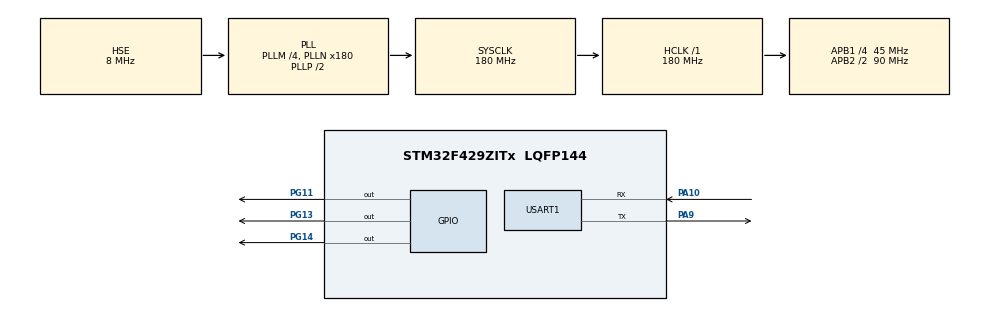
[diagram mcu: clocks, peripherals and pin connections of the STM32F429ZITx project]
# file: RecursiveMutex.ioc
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FREERTOS.Tasks01=defaultTask,0,128,StartDefaultTask,Default,NULL,Dynamic,NULL,NULL
FREERTOS.configUSE_RECURSIVE_MUTEXES=1
Mcu.Family=STM32F4
Mcu.Name=STM32F429ZITx
Mcu.Package=LQFP144
NVIC.PriorityGroup=NVIC_PRIORITYGROUP_4
NVIC.TIM6_DAC_IRQn=true\:15\:0\:false\:false\:true\:false\:false\:true\:true
NVIC.TimeBase=TIM6_DAC_IRQn
NVIC.TimeBaseIP=TIM6
PA10.Mode=Asynchronous
PA10.Signal=USART1_RX
PA9.Mode=Asynchronous
PA9.Signal=USART1_TX
PG11.Signal=GPIO_Output
PG13.Signal=GPIO_Output
PG14.Signal=GPIO_Output
PH0/OSC_IN.Mode=HSE-External-Oscillator
PH0/OSC_IN.Signal=RCC_OSC_IN
PH1/OSC_OUT.Mode=HSE-External-Oscillator
PH1/OSC_OUT.Signal=RCC_OSC_OUT
ProjectManager.HeapSize=0x200
ProjectManager.StackSize=0x400
ProjectManager.TargetToolchain=STM32CubeIDE
RCC.48MHZClocksFreq_Value=51428571.428571425
RCC.AHBFreq_Value=180000000
RCC.APB1CLKDivider=RCC_HCLK_DIV4
RCC.APB1Freq_Value=45000000
RCC.APB1TimFreq_Value=90000000
RCC.APB2CLKDivider=RCC_HCLK_DIV2
RCC.APB2Freq_Value=90000000
RCC.APB2TimFreq_Value=180000000
RCC.CortexFreq_Value=180000000
RCC.HCLKFreq_Value=180000000
RCC.HSE_VALUE=8000000
RCC.HSI_VALUE=16000000
RCC.LSE_VALUE=32768
RCC.PLLM=4
RCC.PLLN=180
RCC.PLLQ=7
RCC.PLLSourceVirtual=RCC_PLLSOURCE_HSE
RCC.SYSCLKFreq_VALUE=180000000
RCC.SYSCLKSource=RCC_SYSCLKSOURCE_PLLCLK
RCC.VCOOutputFreq_Value=360000000
USART1.VirtualMode=VM_ASYNC
VP_FREERTOS_VS_CMSIS_V1.Mode=CMSIS_V1
VP_SYS_VS_tim6.Mode=TIM6
board=STM32F429I-DISC1

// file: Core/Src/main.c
/* USER CODE BEGIN Header */
/**
  ******************************************************************************
  * @file           : main.c
  * @brief          : Main program body
  ******************************************************************************
  * @attention
  *
  * Copyright (c) 2025 STMicroelectronics.
  * All rights reserved.
  *
  * This software is licensed under terms that can be found in the LICENSE file
  * in the root directory of this software component.
  * If no LICENSE file comes with this software, it is provided AS-IS.
  *
  ******************************************************************************
  */
/* USER CODE END Header */
#include "main.h"
#include "FreeRTOS.h"
#include "task.h"
#include "timers.h"
#include "queue.h"
#include "semphr.h"
#include "event_groups.h"

UART_HandleTypeDef huart1;

void SystemClock_Config(void);
static void MX_GPIO_Init(void);
static void MX_USART1_UART_Init(void);

/* USER CODE BEGIN 0 */

/* ************************* Mutex Handle ************************* */
QueueHandle_t RecursiveMutexHandle;

/* ************************* Task Handles ************************* */
TaskHandle_t Task01_Handle, Task02_Handle;

/* ************************ Some functions ************************ */
void Function_B()
{
	// Try to lock the mutex again inside Function_B
	if(xSemaphoreTakeRecursive(RecursiveMutexHandle, portMAX_DELAY) == pdPASS) // This will succeed since it's a recursive mutex, incrementing the lock count
	{
		HAL_GPIO_TogglePin(GPIOG, GPIO_PIN_13); // indicate Function_B
		HAL_UART_Transmit(&huart1, (uint8_t*)"Task01: Enter Function_B\n", 26, HAL_MAX_DELAY);

		vTaskDelay(pdMS_TO_TICKS(500));

		HAL_UART_Transmit(&huart1, (uint8_t*)"Task01: Exit Function_B Releasing Mutex\n", 42, HAL_MAX_DELAY);
		HAL_GPIO_TogglePin(GPIOG, GPIO_PIN_13);

		// Release mutex (decrement lock count)
		xSemaphoreGiveRecursive(RecursiveMutexHandle);
	}
}

void Function_A()
{
	// First lock in Function_A
	if(xSemaphoreTakeRecursive(RecursiveMutexHandle, portMAX_DELAY) == pdPASS) //
	{
		HAL_GPIO_TogglePin(GPIOG, GPIO_PIN_14); // indicate Function_A
		HAL_UART_Transmit(&huart1, (uint8_t*)"Task01: Enter Function_A\n", 26, HAL_MAX_DELAY);

		vTaskDelay(pdMS_TO_TICKS(500));

		// Call nested function that also uses the same mutex
		Function_B();

		HAL_UART_Transmit(&huart1, (uint8_t*)"Task01: Exit Function_A Releasing Mutex\n", 42, HAL_MAX_DELAY);
		HAL_GPIO_TogglePin(GPIOG, GPIO_PIN_14);

		// Release mutex once for Function_A
		xSemaphoreGiveRecursive(RecursiveMutexHandle);
	}
}

/* ************************* Task Functions *********************** */
void Task01(void *pvParameters)
{
	for(;;)
	{
		Function_A(); // Top-level call
		vTaskDelay(pdMS_TO_TICKS(2000)); // Run every 2s
	}
}

void Task02(void *pvParameters)
{
	for(;;)
	{
		// Task02 also wants to use the same resource
		if (xSemaphoreTakeRecursive(RecursiveMutexHandle, portMAX_DELAY) == pdPASS) {
			HAL_GPIO_TogglePin(GPIOG, GPIO_PIN_11); // indicate Task02
			HAL_UART_Transmit(&huart1, (uint8_t*) "Task02: Acquired Mutex\n", 23, HAL_MAX_DELAY);

			vTaskDelay(pdMS_TO_TICKS(1000));

			HAL_UART_Transmit(&huart1, (uint8_t*) "Task02: Releasing Mutex\n", 25, HAL_MAX_DELAY);
			HAL_GPIO_TogglePin(GPIOG, GPIO_PIN_11);

			xSemaphoreGiveRecursive(RecursiveMutexHandle);
		}

		vTaskDelay(pdMS_TO_TICKS(3000)); // Run every 3s
	}
}

/* USER CODE END 0 */

int main(void)
{

  /* MCU Configuration--------------------------------------------------------*/

  /* Reset of all peripherals, Initializes the Flash interface and the Systick. */
  HAL_Init();

  /* Configure the system clock */
  SystemClock_Config();

  /* Initialize all configured peripherals */
  MX_GPIO_Init();
  MX_USART1_UART_Init();
  /* USER CODE BEGIN 2 */

  /* ************************ Create Tasks ************************** */
  RecursiveMutexHandle = xSemaphoreCreateRecursiveMutex();
  if (RecursiveMutexHandle == NULL) {
	HAL_UART_Transmit(&huart1, (uint8_t *)"Mutex creation failed\n", 23, HAL_MAX_DELAY);
  }else{
	HAL_UART_Transmit(&huart1, (uint8_t *)"Mutex created\n", 16, HAL_MAX_DELAY);
  }

  xTaskCreate(Task01, "T1", 256, NULL, 2, &Task01_Handle);
  xTaskCreate(Task02, "T2", 256, NULL, 1, &Task02_Handle);

  vTaskStartScheduler();

  /* USER CODE END 2 */

  /* We should never get here as control is now taken by the scheduler */

  /* Infinite loop */
  while (1)
  {

  }
}

void SystemClock_Config(void)
{
  RCC_OscInitTypeDef RCC_OscInitStruct = {0};
  RCC_ClkInitTypeDef RCC_ClkInitStruct = {0};

  /** Configure the main internal regulator output voltage
  */
  __HAL_RCC_PWR_CLK_ENABLE();
  __HAL_PWR_VOLTAGESCALING_CONFIG(PWR_REGULATOR_VOLTAGE_SCALE1);

  /** Initializes the RCC Oscillators according to the specified parameters
  * in the RCC_OscInitTypeDef structure.
  */
  RCC_OscInitStruct.OscillatorType = RCC_OSCILLATORTYPE_HSE;
  RCC_OscInitStruct.HSEState = RCC_HSE_ON;
  RCC_OscInitStruct.PLL.PLLState = RCC_PLL_ON;
  RCC_OscInitStruct.PLL.PLLSource = RCC_PLLSOURCE_HSE;
  RCC_OscInitStruct.PLL.PLLM = 4;
  RCC_OscInitStruct.PLL.PLLN = 180;
  RCC_OscInitStruct.PLL.PLLP = RCC_PLLP_DIV2;
  RCC_OscInitStruct.PLL.PLLQ = 7;
  if (HAL_RCC_OscConfig(&RCC_OscInitStruct) != HAL_OK)
  {
    Error_Handler();
  }

  /** Activate the Over-Drive mode
  */
  if (HAL_PWREx_EnableOverDrive() != HAL_OK)
  {
    Error_Handler();
  }

  /** Initializes the CPU, AHB and APB buses clocks
  */
  RCC_ClkInitStruct.ClockType = RCC_CLOCKTYPE_HCLK|RCC_CLOCKTYPE_SYSCLK
                              |RCC_CLOCKTYPE_PCLK1|RCC_CLOCKTYPE_PCLK2;
  RCC_ClkInitStruct.SYSCLKSource = RCC_SYSCLKSOURCE_PLLCLK;
  RCC_ClkInitStruct.AHBCLKDivider = RCC_SYSCLK_DIV1;
  RCC_ClkInitStruct.APB1CLKDivider = RCC_HCLK_DIV4;
  RCC_ClkInitStruct.APB2CLKDivider = RCC_HCLK_DIV2;

  if (HAL_RCC_ClockConfig(&RCC_ClkInitStruct, FLASH_LATENCY_5) != HAL_OK)
  {
    Error_Handler();
  }
}

static void MX_USART1_UART_Init(void)
{

  huart1.Instance = USART1;
  huart1.Init.BaudRate = 115200;
  huart1.Init.WordLength = UART_WORDLENGTH_8B;
  huart1.Init.StopBits = UART_STOPBITS_1;
  huart1.Init.Parity = UART_PARITY_NONE;
  huart1.Init.Mode = UART_MODE_TX_RX;
  huart1.Init.HwFlowCtl = UART_HWCONTROL_NONE;
  huart1.Init.OverSampling = UART_OVERSAMPLING_16;
  if (HAL_UART_Init(&huart1) != HAL_OK)
  {
    Error_Handler();
  }

}

static void MX_GPIO_Init(void)
{
  GPIO_InitTypeDef GPIO_InitStruct = {0};

  /* GPIO Ports Clock Enable */
  __HAL_RCC_GPIOH_CLK_ENABLE();
  __HAL_RCC_GPIOA_CLK_ENABLE();
  __HAL_RCC_GPIOG_CLK_ENABLE();

  /*Configure GPIO pin Output Level */
  HAL_GPIO_WritePin(GPIOG, GPIO_PIN_11|GPIO_PIN_13|GPIO_PIN_14, GPIO_PIN_RESET);

  /*Configure GPIO pins : PG11 PG13 PG14 */
  GPIO_InitStruct.Pin = GPIO_PIN_11|GPIO_PIN_13|GPIO_PIN_14;
  GPIO_InitStruct.Mode = GPIO_MODE_OUTPUT_PP;
  GPIO_InitStruct.Pull = GPIO_NOPULL;
  GPIO_InitStruct.Speed = GPIO_SPEED_FREQ_LOW;
  HAL_GPIO_Init(GPIOG, &GPIO_InitStruct);

}

void HAL_TIM_PeriodElapsedCallback(TIM_HandleTypeDef *htim)
{
  if (htim->Instance == TIM6)
  {
    HAL_IncTick();
  }
}

void Error_Handler(void)
{
  __disable_irq();
  while (1)
  {
  }
}
